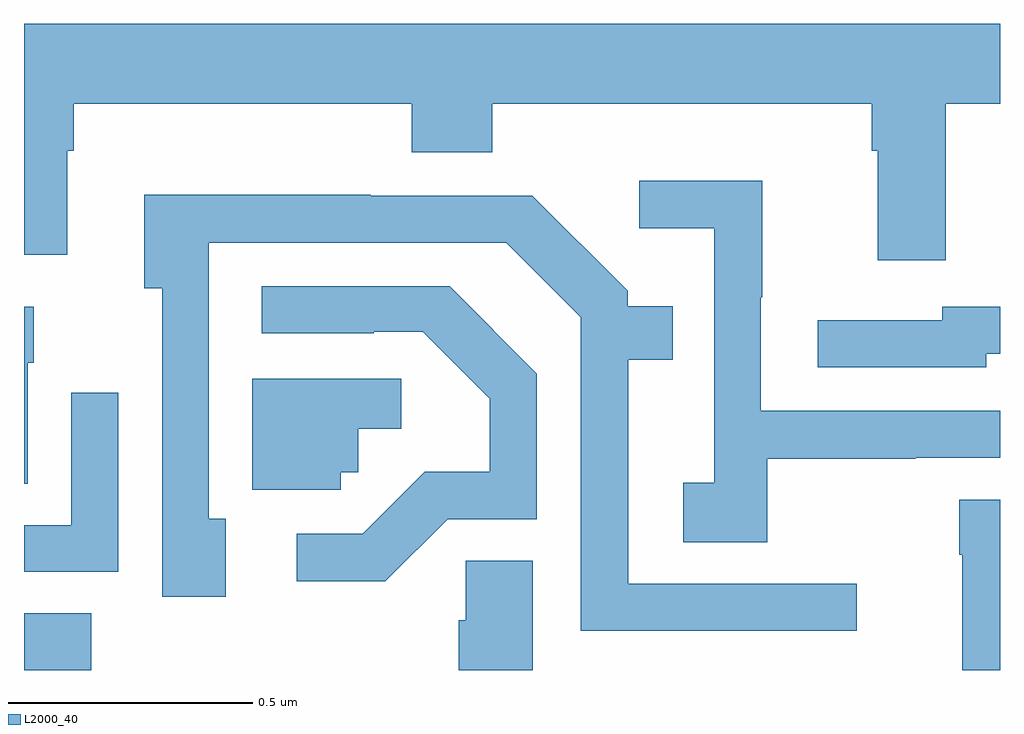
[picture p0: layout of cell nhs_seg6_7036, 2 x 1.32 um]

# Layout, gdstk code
import gdstk
lib = gdstk.Library(unit=1e-6, precision=1e-09)
def R(c, l, rs):  # rectangles x0, y0, x1, y1
    for r in rs: c.add(gdstk.rectangle(r[:2], r[2:], *l))
def P(c, l, *ps):  # polygons
    for p in ps: c.add(gdstk.Polygon(p, *l))
L2000_40 = (2000, 40)

nhs_seg6_7036 = lib.new_cell('nhs_seg6_7036')
R(nhs_seg6_7036, L2000_40, [(203,955.5,203.138,955.616)])
P(nhs_seg6_7036, L2000_40, [(204.889,956.66),(205,956.66),(205,956.824),(203,956.824),(203,956.351),(203.089,956.351),(203.089,956.564),(203.102,956.564),(203.102,956.66),(203.795,956.66),(203.795,956.561),(203.96,956.561),(203.96,956.66),(204.737,956.66),(204.737,956.564),(204.749,956.564),(204.749,956.34),(204.889,956.34)],
  [(204.523,955.933),(204.827,955.933),(204.827,955.935),(205,955.935),(205,956.031),(204.51,956.031),(204.51,956.264),(204.513,956.264),(204.513,956.503),(204.261,956.503),(204.261,956.405),(204.414,956.405),(204.414,955.884),(204.351,955.884),(204.351,955.762),(204.523,955.762)],
  [(204.706,955.677),(204.238,955.677),(204.238,956.136),(204.329,956.136),(204.329,956.245),(204.237,956.245),(204.237,956.277),(204.042,956.472),(203.711,956.472),(203.711,956.474),(203.246,956.474),(203.246,956.282),(203.283,956.282),(203.283,955.65),(203.413,955.65),(203.413,955.81),(203.379,955.81),(203.379,956.376),(203.988,956.376),(204.141,956.223),(204.141,955.581),(204.706,955.581)],
  [(203.868,955.809),(204.051,955.809),(204.051,956.107),(203.872,956.286),(203.487,956.286),(203.487,956.19),(203.717,956.19),(203.717,956.193),(203.817,956.193),(203.954,956.056),(203.954,955.906),(203.821,955.906),(203.694,955.779),(203.559,955.779),(203.559,955.682),(203.74,955.682)],
  [(203.008,956.13),(203.02,956.13),(203.02,956.244),(203,956.244),(203,955.882),(203.008,955.882)],
  [(204.972,956.148),(205,956.148),(205,956.244),(204.882,956.244),(204.882,956.217),(204.627,956.217),(204.627,956.121),(204.972,956.121)],
  [(203.649,955.905),(203.685,955.905),(203.685,955.994),(203.773,955.994),(203.773,956.097),(203.468,956.097),(203.468,955.869),(203.649,955.869)],
  [(203.193,956.068),(203.097,956.068),(203.097,955.797),(203,955.797),(203,955.701),(203.193,955.701)],
  [(205,955.849),(204.916,955.849),(204.916,955.736),(204.923,955.736),(204.923,955.5),(205,955.5)],
  [(204.043,955.724),(203.905,955.724),(203.905,955.602),(203.891,955.602),(203.891,955.5),(204.043,955.5)])

lib.write_gds('nhs_seg6_7036.gds')
